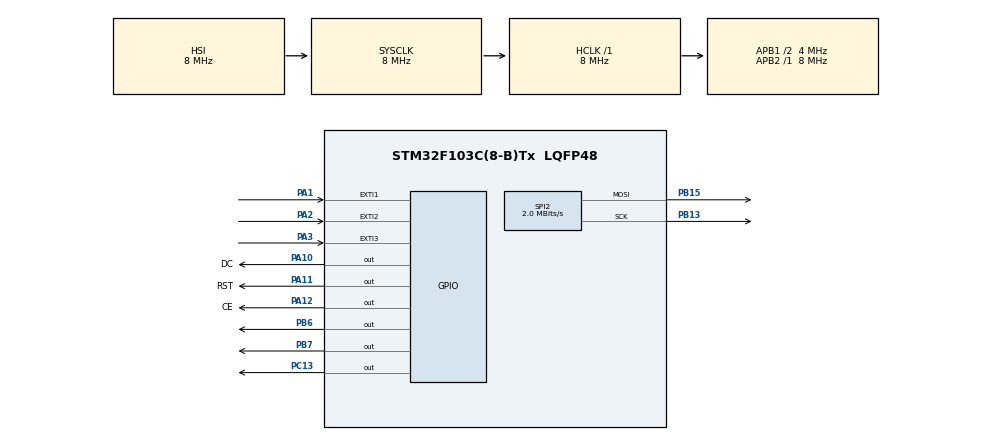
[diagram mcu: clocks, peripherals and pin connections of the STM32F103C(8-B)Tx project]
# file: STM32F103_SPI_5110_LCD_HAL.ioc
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Dma.Request0=SPI2_TX
Dma.SPI2_TX.0.Direction=DMA_MEMORY_TO_PERIPH
Dma.SPI2_TX.0.Instance=DMA1_Channel5
Dma.SPI2_TX.0.MemDataAlignment=DMA_MDATAALIGN_BYTE
Dma.SPI2_TX.0.MemInc=DMA_MINC_ENABLE
Dma.SPI2_TX.0.Mode=DMA_NORMAL
Dma.SPI2_TX.0.PeriphDataAlignment=DMA_PDATAALIGN_BYTE
Dma.SPI2_TX.0.PeriphInc=DMA_PINC_DISABLE
Dma.SPI2_TX.0.Priority=DMA_PRIORITY_LOW
Mcu.Family=STM32F1
Mcu.Name=STM32F103C(8-B)Tx
Mcu.Package=LQFP48
NVIC.DMA1_Channel5_IRQn=true\:0\:0\:false\:false\:true\:false\:true
NVIC.EXTI1_IRQn=true\:0\:0\:false\:false\:true\:true\:true
NVIC.EXTI2_IRQn=true\:0\:0\:false\:false\:true\:true\:true
NVIC.EXTI3_IRQn=true\:0\:0\:false\:false\:true\:true\:true
NVIC.PriorityGroup=NVIC_PRIORITYGROUP_4
NVIC.SPI2_IRQn=true\:0\:0\:false\:false\:true\:true\:true
PA1.GPIO_PuPd=GPIO_PULLDOWN
PA1.Signal=GPXTI1
PA10.GPIO_Label=DC
PA10.Signal=GPIO_Output
PA11.GPIO_Label=RST
PA11.Signal=GPIO_Output
PA12.GPIO_Label=CE
PA12.Signal=GPIO_Output
PA2.GPIO_PuPd=GPIO_PULLDOWN
PA2.Signal=GPXTI2
PA3.GPIO_PuPd=GPIO_PULLDOWN
PA3.Signal=GPXTI3
PB13.Mode=TX_Only_Simplex_Unidirect_Master
PB13.Signal=SPI2_SCK
PB15.Mode=TX_Only_Simplex_Unidirect_Master
PB15.Signal=SPI2_MOSI
PB6.Signal=GPIO_Output
PB7.Signal=GPIO_Output
PC13-TAMPER-RTC.Signal=GPIO_Output
ProjectManager.HeapSize=0x200
ProjectManager.StackSize=0x400
ProjectManager.TargetToolchain=STM32CubeIDE
RCC.AHBFreq_Value=8000000
RCC.APB1CLKDivider=RCC_HCLK_DIV2
RCC.APB1Freq_Value=4000000
RCC.APB1TimFreq_Value=8000000
RCC.APB2Freq_Value=8000000
RCC.APB2TimFreq_Value=8000000
RCC.HCLKFreq_Value=8000000
RCC.PLLMUL=RCC_PLL_MUL16
RCC.SYSCLKFreq_VALUE=8000000
RCC.USBFreq_Value=64000000
SPI2.CalculateBaudRate=2.0 MBits/s
SPI2.Direction=SPI_DIRECTION_2LINES
SPI2.Mode=SPI_MODE_MASTER
SPI2.VirtualType=VM_MASTER
VP_SYS_VS_ND.Mode=No_Debug
board=custom

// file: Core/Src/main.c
/* USER CODE BEGIN Header */
/**
  ******************************************************************************
  * @file           : main.c
  * @brief          : Main program body
  ******************************************************************************
  * @attention
  *
  * <h2><center>&copy; Copyright (c) 2020 STMicroelectronics.
  * All rights reserved.</center></h2>
  *
  * This software component is licensed by ST under BSD 3-Clause license,
  * the "License"; You may not use this file except in compliance with the
  * License. You may obtain a copy of the License at:
  *                        opensource.org/licenses/BSD-3-Clause
  *
  ******************************************************************************
  */
/* USER CODE END Header */
#include "main.h"

/* USER CODE BEGIN Includes */
#include "NOKIA5110.h"
#include "FONT_IMAGE.h"
/* USER CODE END Includes */

SPI_HandleTypeDef hspi2;
DMA_HandleTypeDef hdma_spi2_tx;

/* USER CODE BEGIN PV */
#define DELAY   2000
uint8_t menu_sec=0,menu_say=0,menu_pick1=0,menu_pick2=0,aq = 0,back_menu=0,led_state = 0,led2=0;
/* USER CODE END PV */

void SystemClock_Config(void);
static void MX_GPIO_Init(void);
static void MX_DMA_Init(void);
static void MX_SPI2_Init(void);

/* USER CODE BEGIN 0 */

void baslangic(){
	  N5110_Clear();
	  N5110_SetFont(SmallFont);
	  N5110_PrintStr(3, 5, "LED MENU 1", true);
	  N5110_SetFont(SmallFont);
	  N5110_PrintStr(3, 21, "LED MENU 2", true);
	  /*N5110_SetFont(SmallFont);
	  N5110_PrintStr(3, 37, "LED 3 AC!", true);*/
}
void backmenu(){
	  N5110_Clear();
	  baslangic();
	  N5110_Update();
}
void HAL_GPIO_EXTI_Callback(uint16_t GPIO_Pin){
	if(HAL_GPIO_ReadPin(GPIOA, GPIO_PIN_2)){
		if(menu_sec == 0)
			menu_say = 1;
		//////////////////////////////////

		if(aq == 2){
			menu_pick1++;
			if(menu_pick1 == 3)
				menu_pick1 = 0;
		}
		if(aq == 3){
			menu_pick2++;
			if(menu_pick2 == 3)
			menu_pick2 = 0;
		}
		///////////////////////////////

	}
	if(HAL_GPIO_ReadPin(GPIOA, GPIO_PIN_1)){
		if(menu_sec == 0){
			menu_say = 0;
		}

			///////////////////////////

			if(aq == 2){
				menu_pick1--;
				if(menu_pick1 < 0)
					menu_pick1 = 0;
			}
			if(aq == 3){
				menu_pick2--;
			if(menu_pick2 < 0)
				menu_pick2 = 0;
			}
		/////////////////////////////////

	}
	if(HAL_GPIO_ReadPin(GPIOA, GPIO_PIN_3)){

		if(menu_sec == 0)
			menu_sec = 1;
		if(menu_say == 0 ){
			led_state++;
			if(menu_pick1 == 2){
				menu_sec = 0;
			    led_state = 0;
			}
			if(menu_pick1 == 0)
				if(led_state == 2){
					for(int i=0;i<200000;i++);
					HAL_GPIO_WritePin(GPIOB, GPIO_PIN_6, SET);
					led_state = 0;
				}

			if(menu_pick1 == 1)

				HAL_GPIO_WritePin(GPIOB, GPIO_PIN_6, RESET);
		}

		if(menu_say == 1 ){
			led2++;
			if(menu_pick2 == 2){
				menu_sec = 0;
				led2 = 0;
			}
			if(menu_pick2 == 0)
				if(led2 == 2){
					for(int i=0;i<200000;i++);
					HAL_GPIO_WritePin(GPIOB, GPIO_PIN_7, SET);
					led2 = 0;
				}

			if(menu_pick2 == 1)

				HAL_GPIO_WritePin(GPIOB, GPIO_PIN_7, RESET);
		}

		/*if(menu_say == 1){
			if(menu_pick2 == 2){
				menu_sec = 0;
			    led_state = 0;
			}
		if(menu_pick2 == 0)
			HAL_GPIO_WritePin(GPIOB, GPIO_PIN_7, SET);
		if(menu_pick2 == 1)
			HAL_GPIO_WritePin(GPIOB, GPIO_PIN_7, RESET);

		}*/

	}
}

/* USER CODE END 0 */

int main(void)
{

  /* MCU Configuration--------------------------------------------------------*/

  /* Reset of all peripherals, Initializes the Flash interface and the Systick. */
  HAL_Init();

  /* Configure the system clock */
  SystemClock_Config();

  /* Initialize all configured peripherals */
  MX_GPIO_Init();
  MX_DMA_Init();
  MX_SPI2_Init();
  /* USER CODE BEGIN 2 */
  N5110_Init();
  baslangic();
  N5110_Update();
  /* USER CODE END 2 */

  /* Infinite loop */
  while (1)
  {

    /* USER CODE BEGIN 3 */

	  if(menu_sec == 1){

		  if(menu_say == 0){
			  	  	  	aq = 2;
			  	  	  	if(menu_pick1 == 0){
				  			N5110_Clear();
					       	N5110_DrawHLine(0, 0, N5110_MAX_WIDTH, true);
					        N5110_DrawHLine(0, 16, N5110_MAX_WIDTH, true);
					        N5110_DrawVLine(0, 0, 16, true);
					        N5110_DrawVLine(N5110_MAX_WIDTH-1, 0, 16, true);
						    N5110_Update();
				  			N5110_SetFont(SmallFont);
				  			N5110_PrintStr(3, 5, "LED 1 ON", true);
				  			N5110_SetFont(SmallFont);
				  			N5110_PrintStr(3, 21, "LED 1 OFF", true);
				  			N5110_SetFont(SmallFont);
				  			N5110_PrintStr(3, 37, "BACK MENU", true);
				  			N5110_Update();
				  			HAL_Delay(100);
			  	  	  	}
			  	  	  	else if(menu_pick1 == 1){
				  			N5110_Clear();
					        N5110_DrawHLine(0, 16, N5110_MAX_WIDTH, true);
					        N5110_DrawHLine(0, 32, N5110_MAX_WIDTH, true);
					        N5110_DrawVLine(0, 16, 16, true);
					        N5110_DrawVLine(N5110_MAX_WIDTH-1, 16, 16, true);
						    N5110_Update();
				  			N5110_SetFont(SmallFont);
				  			N5110_PrintStr(3, 5, "LED 1 ON", true);
				  			N5110_SetFont(SmallFont);
				  			N5110_PrintStr(3, 21, "LED 1 OFF", true);
				  			N5110_SetFont(SmallFont);
				  			N5110_PrintStr(3, 37, "BACK MENU", true);
				  			N5110_Update();
				  			HAL_Delay(100);

			  	  	  	}
			  	  	  	else if(menu_pick1 == 2){
				  			N5110_Clear();
	 	       		        N5110_DrawHLine(0, 32, N5110_MAX_WIDTH, true);
	 	       		        N5110_DrawHLine(0, 47, N5110_MAX_WIDTH, true);
	 	       		        N5110_DrawVLine(0, 32, 16, true);
	 	       		        N5110_DrawVLine(N5110_MAX_WIDTH-1, 32, 16, true);
						    N5110_Update();
				  			N5110_SetFont(SmallFont);
				  			N5110_PrintStr(3, 5, "LED 1 ON", true);
				  			N5110_SetFont(SmallFont);
				  			N5110_PrintStr(3, 21, "LED 1 OFF", true);
				  			N5110_SetFont(SmallFont);
				  			N5110_PrintStr(3, 37, "BACK MENU", true);
				  			N5110_Update();
				  			HAL_Delay(100);

			  	  	  	}
			  		}

			  	else if(menu_say == 1)
			  	{
			  	     	aq = 3;
			  	     	if(menu_pick2 == 0){
			  	  				  			N5110_Clear();
			  	  					       	N5110_DrawHLine(0, 0, N5110_MAX_WIDTH, true);
			  	  					        N5110_DrawHLine(0, 16, N5110_MAX_WIDTH, true);
			  	  					        N5110_DrawVLine(0, 0, 16, true);
			  	  					        N5110_DrawVLine(N5110_MAX_WIDTH-1, 0, 16, true);
			  	  						    N5110_Update();
			  	  				  			N5110_SetFont(SmallFont);
			  	  				  			N5110_PrintStr(3, 5, "LED 2 ON", true);
			  	  				  			N5110_SetFont(SmallFont);
			  	  				  			N5110_PrintStr(3, 21, "LED 2 OFF", true);
			  	  				  			N5110_SetFont(SmallFont);
			  	  				  			N5110_PrintStr(3, 37, "BACK MENU", true);
			  	  				  			N5110_Update();
			  	  				  			HAL_Delay(100);

			  	  			  	  	  	}
			  	  			  	  	  	if(menu_pick2 == 1){
			  	  				  			N5110_Clear();
			  	  					        N5110_DrawHLine(0, 16, N5110_MAX_WIDTH, true);
			  	  					        N5110_DrawHLine(0, 32, N5110_MAX_WIDTH, true);
			  	  					        N5110_DrawVLine(0, 16, 16, true);
			  	  					        N5110_DrawVLine(N5110_MAX_WIDTH-1, 16, 16, true);
			  	  						    N5110_Update();
			  	  				  			N5110_SetFont(SmallFont);
			  	  				  			N5110_PrintStr(3, 5, "LED 2 ON", true);
			  	  				  			N5110_SetFont(SmallFont);
			  	  				  			N5110_PrintStr(3, 21, "LED 2 OFF", true);
			  	  				  			N5110_SetFont(SmallFont);
			  	  				  			N5110_PrintStr(3, 37, "BACK MENU", true);
			  	  				  			N5110_Update();
			  	  				  			HAL_Delay(100);

			  	  			  	  	  	}
			  	  			  	  	  	if(menu_pick2 == 2){
			  	  				  			N5110_Clear();
			  	  	 	       		        N5110_DrawHLine(0, 32, N5110_MAX_WIDTH, true);
			  	  	 	       		        N5110_DrawHLine(0, 47, N5110_MAX_WIDTH, true);
			  	  	 	       		        N5110_DrawVLine(0, 32, 16, true);
			  	  	 	       		        N5110_DrawVLine(N5110_MAX_WIDTH-1, 32, 16, true);
			  	  						    N5110_Update();
			  	  				  			N5110_SetFont(SmallFont);
			  	  				  			N5110_PrintStr(3, 5, "LED 2 ON", true);
			  	  				  			N5110_SetFont(SmallFont);
			  	  				  			N5110_PrintStr(3, 21, "LED 2 OFF", true);
			  	  				  			N5110_SetFont(SmallFont);
			  	  				  			N5110_PrintStr(3, 37, "BACK MENU", true);
			  	  				  			N5110_Update();
			  	  				  			HAL_Delay(100);

			  	  			  	  	  	}
			  	}
	  }
	  else if (menu_sec ==0)
	  {
		  if(menu_say == 0){
				  N5110_Clear();
				  baslangic();
		       	  N5110_DrawHLine(0, 0, N5110_MAX_WIDTH, true);
		          N5110_DrawHLine(0, 16, N5110_MAX_WIDTH, true);
		          N5110_DrawVLine(0, 0, 16, true);
		          N5110_DrawVLine(N5110_MAX_WIDTH-1, 0, 16, true);
			      N5110_Update();
		  }
		  else if(menu_say == 1)
		  {
					N5110_Clear();
					baslangic();
			        N5110_DrawHLine(0, 16, N5110_MAX_WIDTH, true);
			        N5110_DrawHLine(0, 32, N5110_MAX_WIDTH, true);
			        N5110_DrawVLine(0, 16, 16, true);
			        N5110_DrawVLine(N5110_MAX_WIDTH-1, 16, 16, true);
			        N5110_Update();
		  }
	  }
  }
  /* USER CODE END 3 */
}

void SystemClock_Config(void)
{
  RCC_OscInitTypeDef RCC_OscInitStruct = {0};
  RCC_ClkInitTypeDef RCC_ClkInitStruct = {0};

  /** Initializes the RCC Oscillators according to the specified parameters
  * in the RCC_OscInitTypeDef structure.
  */
  RCC_OscInitStruct.OscillatorType = RCC_OSCILLATORTYPE_HSI;
  RCC_OscInitStruct.HSIState = RCC_HSI_ON;
  RCC_OscInitStruct.HSICalibrationValue = RCC_HSICALIBRATION_DEFAULT;
  RCC_OscInitStruct.PLL.PLLState = RCC_PLL_NONE;
  if (HAL_RCC_OscConfig(&RCC_OscInitStruct) != HAL_OK)
  {
    Error_Handler();
  }
  /** Initializes the CPU, AHB and APB buses clocks
  */
  RCC_ClkInitStruct.ClockType = RCC_CLOCKTYPE_HCLK|RCC_CLOCKTYPE_SYSCLK
                              |RCC_CLOCKTYPE_PCLK1|RCC_CLOCKTYPE_PCLK2;
  RCC_ClkInitStruct.SYSCLKSource = RCC_SYSCLKSOURCE_HSI;
  RCC_ClkInitStruct.AHBCLKDivider = RCC_SYSCLK_DIV1;
  RCC_ClkInitStruct.APB1CLKDivider = RCC_HCLK_DIV2;
  RCC_ClkInitStruct.APB2CLKDivider = RCC_HCLK_DIV1;

  if (HAL_RCC_ClockConfig(&RCC_ClkInitStruct, FLASH_LATENCY_0) != HAL_OK)
  {
    Error_Handler();
  }
}

static void MX_SPI2_Init(void)
{

  /* SPI2 parameter configuration*/
  hspi2.Instance = SPI2;
  hspi2.Init.Mode = SPI_MODE_MASTER;
  hspi2.Init.Direction = SPI_DIRECTION_2LINES;
  hspi2.Init.DataSize = SPI_DATASIZE_8BIT;
  hspi2.Init.CLKPolarity = SPI_POLARITY_LOW;
  hspi2.Init.CLKPhase = SPI_PHASE_1EDGE;
  hspi2.Init.NSS = SPI_NSS_SOFT;
  hspi2.Init.BaudRatePrescaler = SPI_BAUDRATEPRESCALER_2;
  hspi2.Init.FirstBit = SPI_FIRSTBIT_MSB;
  hspi2.Init.TIMode = SPI_TIMODE_DISABLE;
  hspi2.Init.CRCCalculation = SPI_CRCCALCULATION_DISABLE;
  hspi2.Init.CRCPolynomial = 10;
  if (HAL_SPI_Init(&hspi2) != HAL_OK)
  {
    Error_Handler();
  }

}

static void MX_DMA_Init(void)
{

  /* DMA controller clock enable */
  __HAL_RCC_DMA1_CLK_ENABLE();

  /* DMA interrupt init */
  /* DMA1_Channel5_IRQn interrupt configuration */
  HAL_NVIC_SetPriority(DMA1_Channel5_IRQn, 0, 0);
  HAL_NVIC_EnableIRQ(DMA1_Channel5_IRQn);

}

static void MX_GPIO_Init(void)
{
  GPIO_InitTypeDef GPIO_InitStruct = {0};

  /* GPIO Ports Clock Enable */
  __HAL_RCC_GPIOC_CLK_ENABLE();
  __HAL_RCC_GPIOA_CLK_ENABLE();
  __HAL_RCC_GPIOB_CLK_ENABLE();

  /*Configure GPIO pin Output Level */
  HAL_GPIO_WritePin(GPIOC, GPIO_PIN_13, GPIO_PIN_RESET);

  /*Configure GPIO pin Output Level */
  HAL_GPIO_WritePin(GPIOA, DC_Pin|RST_Pin|CE_Pin, GPIO_PIN_RESET);

  /*Configure GPIO pin Output Level */
  HAL_GPIO_WritePin(GPIOB, GPIO_PIN_6|GPIO_PIN_7, GPIO_PIN_RESET);

  /*Configure GPIO pin : PC13 */
  GPIO_InitStruct.Pin = GPIO_PIN_13;
  GPIO_InitStruct.Mode = GPIO_MODE_OUTPUT_PP;
  GPIO_InitStruct.Pull = GPIO_NOPULL;
  GPIO_InitStruct.Speed = GPIO_SPEED_FREQ_LOW;
  HAL_GPIO_Init(GPIOC, &GPIO_InitStruct);

  /*Configure GPIO pins : PA1 PA2 PA3 */
  GPIO_InitStruct.Pin = GPIO_PIN_1|GPIO_PIN_2|GPIO_PIN_3;
  GPIO_InitStruct.Mode = GPIO_MODE_IT_RISING;
  GPIO_InitStruct.Pull = GPIO_PULLDOWN;
  HAL_GPIO_Init(GPIOA, &GPIO_InitStruct);

  /*Configure GPIO pins : DC_Pin RST_Pin CE_Pin */
  GPIO_InitStruct.Pin = DC_Pin|RST_Pin|CE_Pin;
  GPIO_InitStruct.Mode = GPIO_MODE_OUTPUT_PP;
  GPIO_InitStruct.Pull = GPIO_NOPULL;
  GPIO_InitStruct.Speed = GPIO_SPEED_FREQ_LOW;
  HAL_GPIO_Init(GPIOA, &GPIO_InitStruct);

  /*Configure GPIO pins : PB6 PB7 */
  GPIO_InitStruct.Pin = GPIO_PIN_6|GPIO_PIN_7;
  GPIO_InitStruct.Mode = GPIO_MODE_OUTPUT_PP;
  GPIO_InitStruct.Pull = GPIO_NOPULL;
  GPIO_InitStruct.Speed = GPIO_SPEED_FREQ_LOW;
  HAL_GPIO_Init(GPIOB, &GPIO_InitStruct);

  /* EXTI interrupt init*/
  HAL_NVIC_SetPriority(EXTI1_IRQn, 0, 0);
  HAL_NVIC_EnableIRQ(EXTI1_IRQn);

  HAL_NVIC_SetPriority(EXTI2_IRQn, 0, 0);
  HAL_NVIC_EnableIRQ(EXTI2_IRQn);

  HAL_NVIC_SetPriority(EXTI3_IRQn, 0, 0);
  HAL_NVIC_EnableIRQ(EXTI3_IRQn);

}

void Error_Handler(void)
{
  __disable_irq();
  while (1)
  {
  }
}

/************************ (C) COPYRIGHT STMicroelectronics *****END OF FILE****/
